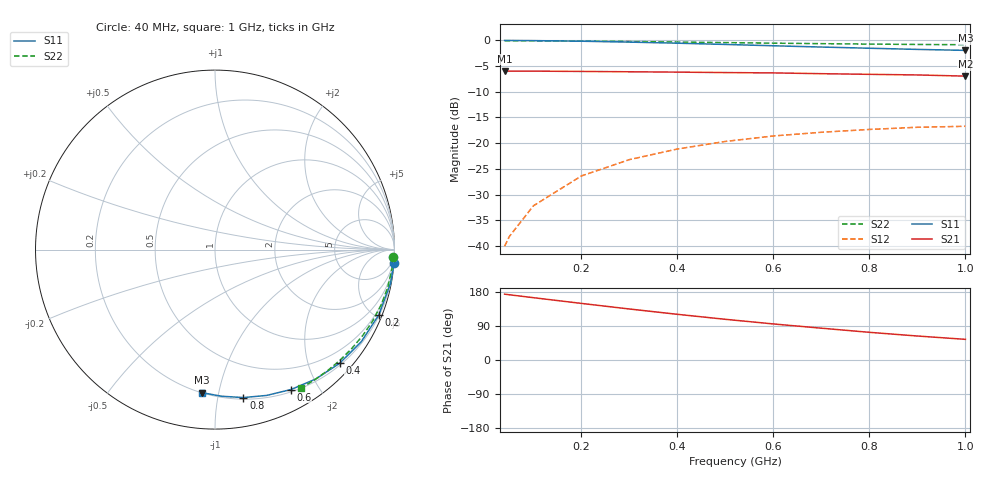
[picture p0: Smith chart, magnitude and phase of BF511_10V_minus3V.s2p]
! Philips part #: BF511  Date: Feb 2005
! Bias condition:  VDS=10.00V; ID=4.969mA; Vstart=-3V;
#  MHz  S  MA  R  50
! Standard  S11  S21  S12  S22
!  Mag  Ang  Mag  Ang  Mag  Ang  Mag  Ang
! Freq  [rat]  [deg]  [rat]  [deg]  [rat]  [deg]  [rat]  [deg]
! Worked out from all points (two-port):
!   12 points, 40 MHz to 1 GHz, reference 50 ohm
!   highest |S21| = -5.97 dB at 40 MHz (marker M1); lowest = -6.9 dB at 1 GHz (marker M2)
!   |S21| within 3 dB of the highest: start of sweep to end of sweep
!   lowest |S11| = -1.9 dB at 1 GHz (marker M3), VSWR 9.01, Z = 10 - j44.5 ohm
!   |S11| at or under -10 dB: nowhere
!   |S22| runs from -0.8 to -0.1 dB; largest |S21 - S12| = 0.5
!   S11 on the Smith chart (normalised r, x): 40 MHz: 0, -26; 200 MHz: 0.25, -5.19; 400 MHz: 0.24, -2.56; 600 MHz: 0.23, -1.66; 800 MHz: 0.21, -1.19; 1 GHz: 0.20, -0.89
40  0.9992 -4.4  0.503 173.8  0.00995 86.4  0.9935 -2.5
50  0.999 -5.5  0.5026 172.1  0.01239 85.5  0.9933 -3.1
100  0.9956 -11.0  0.5024 164.4  0.02459 81.2  0.9913 -6.3
200  0.9825 -21.8  0.4992 149.3  0.048 72.9  0.9851 -12.4
300  0.9631 -32.2  0.4953 134.6  0.06919 65.0  0.9756 -18.5
400  0.9399 -42.4  0.4915 120.5  0.08777 57.4  0.9641 -24.4
500  0.9137 -52.1  0.4866 107.4  0.104 50.3  0.9522 -30.2
600  0.887 -61.5  0.4829 95.1  0.1176 43.9  0.9403 -35.9
700  0.8621 -70.5  0.4746 83.9  0.1277 37.9  0.93 -41.5
800  0.8394 -79.2  0.4677 73.0  0.136 31.8  0.921 -47.1
900  0.8177 -87.5  0.4614 63.3  0.1428 26.4  0.9135 -52.6
1000  0.8002 -95.4  0.4493 54.5  0.146 21.5  0.9082 -58.1
